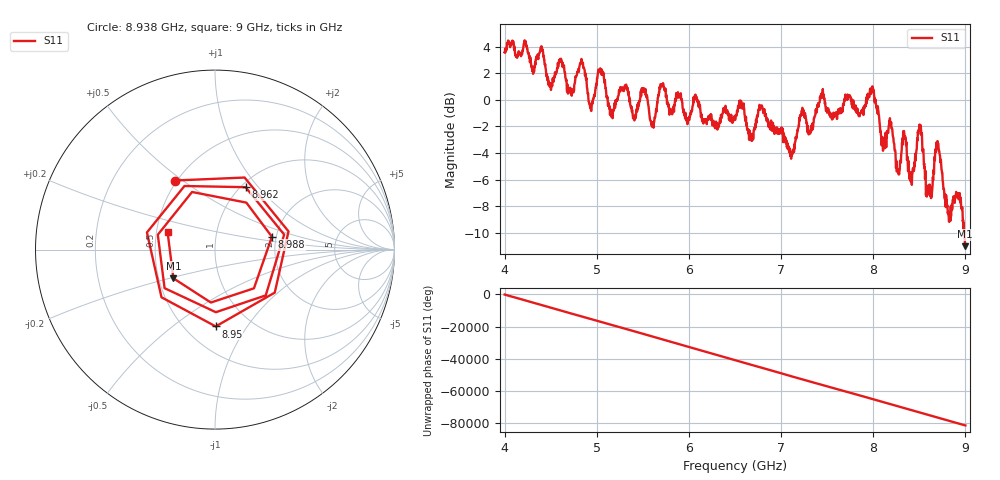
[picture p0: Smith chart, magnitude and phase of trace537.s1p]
! Created with skrf 1.8.0 (http://scikit-rf.org).
# Hz S RI R 50.0
!freq ReS11 ImS11
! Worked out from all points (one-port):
!   1601 points, 4 GHz to 9 GHz, reference 50 ohm
!   lowest |S11| = -11.0 dB at 8.997 GHz (marker M1), VSWR 1.78, Z = 29.8 - j10.4 ohm
!   |S11| at or under -10 dB: 8.983848 GHz to 8.984586 GHz (738 kHz wide, 0.00821 % of centre); 8.989365 GHz to end of sweep
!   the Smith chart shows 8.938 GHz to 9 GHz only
!   S11 on the Smith chart (normalised r, x): 8.938 GHz: 0.49, +0.47; 8.95 GHz: 0.69, -0.73; 8.962 GHz: 1.05, +0.86; 8.988 GHz: 1.90, +0.30; 9 GHz: 0.57, +0.12
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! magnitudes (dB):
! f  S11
! 4 GHz  3.6
! 4.625 GHz  2.6
! 4.722 GHz  0.8
! 4.844 GHz  2.8
! 4.934 GHz  -0.6
! 5.034 GHz  2.3
! 5.156 GHz  -1.2
! 5.25 GHz  0.8
! 5.6 GHz  -1.9
! 5.706 GHz  1.2
! 5.875 GHz  0.4
! 6.5 GHz  -1.5
! 7.125 GHz  -4.1
! 7.225 GHz  -0.8
! 7.75 GHz  0.3
! 7.988 GHz  0.9
! 8.103 GHz  -3.2
! 8.375 GHz  -4.9
! 8.503 GHz  -1.8
! 8.597 GHz  -6.9
! 8.697 GHz  -3.1
! 8.812 GHz  -8.4
! 8.938 GHz  -7.0
! 8.95 GHz  -7.4
! 8.962 GHz  -8.2
! 8.988 GHz  -9.8
! 8.997 GHz  -11.0
! 9 GHz  -11.0
